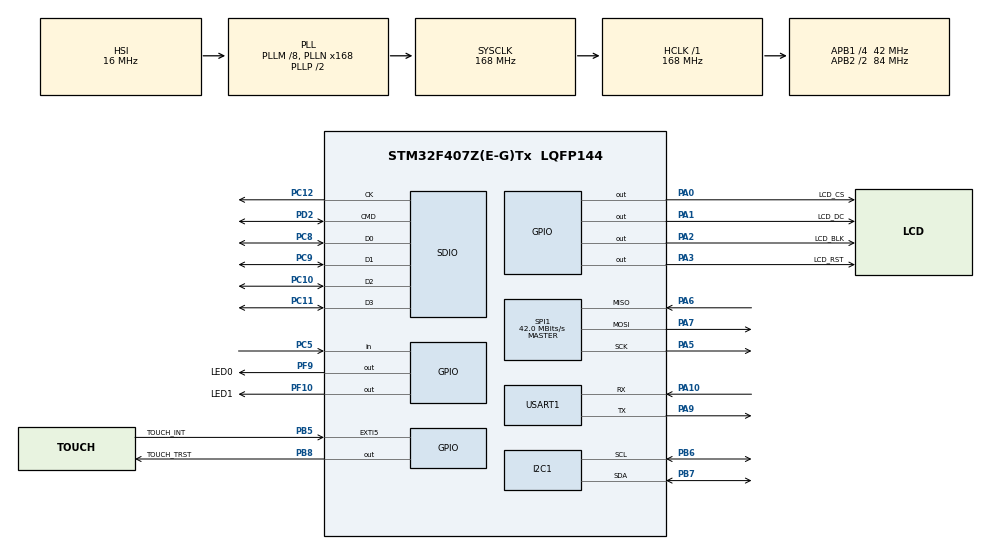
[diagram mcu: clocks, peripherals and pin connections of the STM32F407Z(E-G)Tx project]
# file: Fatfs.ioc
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Dma.Request0=SDIO_TX
Dma.Request1=SDIO_RX
Dma.Request2=SPI1_RX
Dma.Request3=SPI1_TX
Dma.SDIO_RX.1.Direction=DMA_PERIPH_TO_MEMORY
Dma.SDIO_RX.1.FIFOMode=DMA_FIFOMODE_ENABLE
Dma.SDIO_RX.1.FIFOThreshold=DMA_FIFO_THRESHOLD_FULL
Dma.SDIO_RX.1.Instance=DMA2_Stream6
Dma.SDIO_RX.1.MemBurst=DMA_MBURST_INC4
Dma.SDIO_RX.1.MemDataAlignment=DMA_MDATAALIGN_WORD
Dma.SDIO_RX.1.MemInc=DMA_MINC_ENABLE
Dma.SDIO_RX.1.Mode=DMA_PFCTRL
Dma.SDIO_RX.1.PeriphBurst=DMA_PBURST_INC4
Dma.SDIO_RX.1.PeriphDataAlignment=DMA_PDATAALIGN_WORD
Dma.SDIO_RX.1.PeriphInc=DMA_PINC_DISABLE
Dma.SDIO_RX.1.Priority=DMA_PRIORITY_LOW
Dma.SDIO_TX.0.Direction=DMA_MEMORY_TO_PERIPH
Dma.SDIO_TX.0.FIFOMode=DMA_FIFOMODE_ENABLE
Dma.SDIO_TX.0.FIFOThreshold=DMA_FIFO_THRESHOLD_FULL
Dma.SDIO_TX.0.Instance=DMA2_Stream3
Dma.SDIO_TX.0.MemBurst=DMA_MBURST_INC4
Dma.SDIO_TX.0.MemDataAlignment=DMA_MDATAALIGN_WORD
Dma.SDIO_TX.0.MemInc=DMA_MINC_ENABLE
Dma.SDIO_TX.0.Mode=DMA_PFCTRL
Dma.SDIO_TX.0.PeriphBurst=DMA_PBURST_INC4
Dma.SDIO_TX.0.PeriphDataAlignment=DMA_PDATAALIGN_WORD
Dma.SDIO_TX.0.PeriphInc=DMA_PINC_DISABLE
Dma.SDIO_TX.0.Priority=DMA_PRIORITY_LOW
Dma.SPI1_RX.2.Direction=DMA_PERIPH_TO_MEMORY
Dma.SPI1_RX.2.FIFOMode=DMA_FIFOMODE_ENABLE
Dma.SPI1_RX.2.FIFOThreshold=DMA_FIFO_THRESHOLD_FULL
Dma.SPI1_RX.2.Instance=DMA2_Stream0
Dma.SPI1_RX.2.MemBurst=DMA_MBURST_SINGLE
Dma.SPI1_RX.2.MemDataAlignment=DMA_MDATAALIGN_BYTE
Dma.SPI1_RX.2.MemInc=DMA_MINC_ENABLE
Dma.SPI1_RX.2.Mode=DMA_NORMAL
Dma.SPI1_RX.2.PeriphBurst=DMA_PBURST_SINGLE
Dma.SPI1_RX.2.PeriphDataAlignment=DMA_PDATAALIGN_BYTE
Dma.SPI1_RX.2.PeriphInc=DMA_PINC_DISABLE
Dma.SPI1_RX.2.Priority=DMA_PRIORITY_LOW
Dma.SPI1_TX.3.Direction=DMA_MEMORY_TO_PERIPH
Dma.SPI1_TX.3.FIFOMode=DMA_FIFOMODE_ENABLE
Dma.SPI1_TX.3.FIFOThreshold=DMA_FIFO_THRESHOLD_1QUARTERFULL
Dma.SPI1_TX.3.Instance=DMA2_Stream5
Dma.SPI1_TX.3.MemBurst=DMA_MBURST_SINGLE
Dma.SPI1_TX.3.MemDataAlignment=DMA_MDATAALIGN_HALFWORD
Dma.SPI1_TX.3.MemInc=DMA_MINC_ENABLE
Dma.SPI1_TX.3.Mode=DMA_NORMAL
Dma.SPI1_TX.3.PeriphBurst=DMA_PBURST_SINGLE
Dma.SPI1_TX.3.PeriphDataAlignment=DMA_PDATAALIGN_BYTE
Dma.SPI1_TX.3.PeriphInc=DMA_PINC_DISABLE
Dma.SPI1_TX.3.Priority=DMA_PRIORITY_LOW
FATFS.BSP.number=1
FATFS._CODE_PAGE=936
FATFS._FS_LOCK=3
FATFS._FS_MINIMIZE=0
FATFS._USE_LFN=2
FATFS0.BSP.STBoard=false
FATFS0.BSP.api=Unknown
FATFS0.BSP.instance=PC5
FATFS0.BSP.ip=GPIO
FATFS0.BSP.mode=Input
FATFS0.BSP.name=Detect_SDIO
FATFS0.BSP.solution=PC5
FREERTOS.Tasks01=defaultTask,0,1024,StartDefaultTask,Default,NULL,Dynamic,NULL,NULL;lvgl,0,1024,lvgl_Task,Default,NULL,Dynamic,NULL,NULL;AccelerateLvgl,0,256,AccelerateLvgl_t,Default,NULL,Dynamic,NULL,NULL
FREERTOS.configCHECK_FOR_STACK_OVERFLOW=1
FREERTOS.configMINIMAL_STACK_SIZE=256
FREERTOS.configUSE_TICK_HOOK=1
Mcu.Family=STM32F4
Mcu.Name=STM32F407Z(E-G)Tx
Mcu.Package=LQFP144
NVIC.DMA2_Stream0_IRQn=true\:6\:0\:true\:false\:true\:true\:false\:true\:true
NVIC.DMA2_Stream3_IRQn=true\:6\:0\:true\:false\:true\:true\:false\:true\:true
NVIC.DMA2_Stream5_IRQn=true\:6\:0\:true\:false\:true\:true\:false\:true\:true
NVIC.DMA2_Stream6_IRQn=true\:6\:0\:true\:false\:true\:true\:false\:true\:true
NVIC.EXTI9_5_IRQn=true\:7\:0\:true\:false\:true\:true\:true\:true\:true
NVIC.PriorityGroup=NVIC_PRIORITYGROUP_4
NVIC.SDIO_IRQn=true\:5\:0\:false\:false\:true\:true\:true\:true\:true
NVIC.SPI1_IRQn=true\:7\:0\:true\:false\:true\:true\:true\:true\:true
NVIC.TIM2_IRQn=true\:0\:0\:true\:false\:true\:false\:false\:true\:true
NVIC.TimeBase=TIM2_IRQn
NVIC.TimeBaseIP=TIM2
PA0-WKUP.GPIO_Label=LCD_CS
PA0-WKUP.GPIO_PuPd=GPIO_PULLUP
PA0-WKUP.GPIO_Speed=GPIO_SPEED_FREQ_VERY_HIGH
PA0-WKUP.PinState=GPIO_PIN_SET
PA0-WKUP.Signal=GPIO_Output
PA1.GPIO_Label=LCD_DC
PA1.GPIO_PuPd=GPIO_PULLUP
PA1.GPIO_Speed=GPIO_SPEED_FREQ_VERY_HIGH
PA1.PinState=GPIO_PIN_SET
PA1.Signal=GPIO_Output
PA10.Mode=Asynchronous
PA10.Signal=USART1_RX
PA13.Mode=Serial_Wire
PA13.Signal=SYS_JTMS-SWDIO
PA14.Mode=Serial_Wire
PA14.Signal=SYS_JTCK-SWCLK
PA2.GPIO_Label=LCD_BLK
PA2.GPIO_PuPd=GPIO_PULLUP
PA2.GPIO_Speed=GPIO_SPEED_FREQ_VERY_HIGH
PA2.PinState=GPIO_PIN_SET
PA2.Signal=GPIO_Output
PA3.GPIO_Label=LCD_RST
PA3.GPIO_PuPd=GPIO_PULLUP
PA3.GPIO_Speed=GPIO_SPEED_FREQ_VERY_HIGH
PA3.PinState=GPIO_PIN_SET
PA3.Signal=GPIO_Output
PA5.Mode=Full_Duplex_Master
PA5.Signal=SPI1_SCK
PA6.Mode=Full_Duplex_Master
PA6.Signal=SPI1_MISO
PA7.Mode=Full_Duplex_Master
PA7.Signal=SPI1_MOSI
PA9.Mode=Asynchronous
PA9.Signal=USART1_TX
PB5.GPIO_Label=TOUCH_INT
PB5.GPIO_ModeDefaultEXTI=GPIO_MODE_IT_FALLING
PB5.GPIO_PuPd=GPIO_PULLUP
PB5.Signal=GPXTI5
PB6.Mode=I2C
PB6.Signal=I2C1_SCL
PB7.Mode=I2C
PB7.Signal=I2C1_SDA
PB8.GPIO_Label=TOUCH_TRST
PB8.GPIO_Speed=GPIO_SPEED_FREQ_VERY_HIGH
PB8.PinState=GPIO_PIN_SET
PB8.Signal=GPIO_Output
PC10.Mode=SD_4_bits_Wide_bus
PC10.Signal=SDIO_D2
PC11.Mode=SD_4_bits_Wide_bus
PC11.Signal=SDIO_D3
PC12.Mode=SD_4_bits_Wide_bus
PC12.Signal=SDIO_CK
PC14-OSC32_IN.Mode=LSE-External-Oscillator
PC14-OSC32_IN.Signal=RCC_OSC32_IN
PC15-OSC32_OUT.Mode=LSE-External-Oscillator
PC15-OSC32_OUT.Signal=RCC_OSC32_OUT
PC5.GPIO_PuPd=GPIO_PULLDOWN
PC5.Signal=GPIO_Input
PC8.Mode=SD_4_bits_Wide_bus
PC8.Signal=SDIO_D0
PC9.Mode=SD_4_bits_Wide_bus
PC9.Signal=SDIO_D1
PD2.Mode=SD_4_bits_Wide_bus
PD2.Signal=SDIO_CMD
PF10.GPIO_Label=LED1
PF10.GPIO_Speed=GPIO_SPEED_FREQ_VERY_HIGH
PF10.PinState=GPIO_PIN_SET
PF10.Signal=GPIO_Output
PF9.GPIO_Label=LED0
PF9.GPIO_Speed=GPIO_SPEED_FREQ_VERY_HIGH
PF9.PinState=GPIO_PIN_SET
PF9.Signal=GPIO_Output
PH0-OSC_IN.Mode=HSE-External-Oscillator
PH0-OSC_IN.Signal=RCC_OSC_IN
PH1-OSC_OUT.Mode=HSE-External-Oscillator
PH1-OSC_OUT.Signal=RCC_OSC_OUT
ProjectManager.HeapSize=0x200
ProjectManager.StackSize=0x2000
ProjectManager.TargetToolchain=MDK-ARM V5.32
RCC.48MHZClocksFreq_Value=48000000
RCC.AHBFreq_Value=168000000
RCC.APB1CLKDivider=RCC_HCLK_DIV4
RCC.APB1Freq_Value=42000000
RCC.APB1TimFreq_Value=84000000
RCC.APB2CLKDivider=RCC_HCLK_DIV2
RCC.APB2Freq_Value=84000000
RCC.APB2TimFreq_Value=168000000
RCC.CortexFreq_Value=168000000
RCC.HCLKFreq_Value=168000000
RCC.HSE_VALUE=25000000
RCC.HSI_VALUE=16000000
RCC.PLLM=8
RCC.PLLN=168
RCC.PLLQ=7
RCC.SYSCLKFreq_VALUE=168000000
RCC.SYSCLKSource=RCC_SYSCLKSOURCE_PLLCLK
RCC.VCOOutputFreq_Value=336000000
SDIO.ClockDiv=8
SPI1.CalculateBaudRate=42.0 MBits/s
SPI1.DataSize=SPI_DATASIZE_8BIT
SPI1.Direction=SPI_DIRECTION_2LINES
SPI1.Mode=SPI_MODE_MASTER
SPI1.VirtualType=VM_MASTER
USART1.VirtualMode=VM_ASYNC
VP_FATFS_VS_Generic.Mode=User_defined
VP_FATFS_VS_SDIO.Mode=SDIO
VP_FREERTOS_VS_CMSIS_V1.Mode=CMSIS_V1
VP_SYS_VS_tim2.Mode=TIM2
board=custom

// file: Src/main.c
/* USER CODE BEGIN Header */
/**
  ******************************************************************************
  * @file           : main.c
  * @brief          : Main program body
  ******************************************************************************
  * @attention
  *
  * Copyright (c) 2025 STMicroelectronics.
  * All rights reserved.
  *
  * This software is licensed under terms that can be found in the LICENSE file
  * in the root directory of this software component.
  * If no LICENSE file comes with this software, it is provided AS-IS.
  *
  ******************************************************************************
  */
/* USER CODE END Header */
#include "main.h"
#include "cmsis_os.h"
#include "dma.h"
#include "fatfs.h"
#include "i2c.h"
#include "sdio.h"
#include "spi.h"
#include "usart.h"
#include "gpio.h"

/* USER CODE BEGIN PD */
// 要打开的文件
#define FILE_NAME	"0:/FOO.txt"
// 要读取的目录
#define DIR_PATH	"0:/SYSTEM/SPB/ICOS"
/* USER CODE END PD */

void SystemClock_Config(void);
void MX_FREERTOS_Init(void);

int main(void)
{

  /* MCU Configuration--------------------------------------------------------*/

  /* Reset of all peripherals, Initializes the Flash interface and the Systick. */
  HAL_Init();

  /* Configure the system clock */
  SystemClock_Config();

  /* USER CODE BEGIN SysInit */
	//HAL_Delay(8000);
  /* USER CODE END SysInit */

  /* Initialize all configured peripherals */
  MX_GPIO_Init();
  MX_DMA_Init();
  MX_SDIO_SD_Init();
  MX_USART1_UART_Init();
  MX_FATFS_Init();
  MX_I2C1_Init();
  MX_SPI1_Init();
  /* USER CODE BEGIN 2 */
	LCD_Init();
	LCD_Fill(0,0,LCD_W,LCD_H,WHITE);

  /* USER CODE END 2 */

  /* Call init function for freertos objects (in cmsis_os2.c) */
  MX_FREERTOS_Init();

  /* Start scheduler */
  osKernelStart();

  /* We should never get here as control is now taken by the scheduler */

  /* Infinite loop */
  while (1)
  {

  }
}

void SystemClock_Config(void)
{
  RCC_OscInitTypeDef RCC_OscInitStruct = {0};
  RCC_ClkInitTypeDef RCC_ClkInitStruct = {0};

  /** Configure the main internal regulator output voltage
  */
  __HAL_RCC_PWR_CLK_ENABLE();
  __HAL_PWR_VOLTAGESCALING_CONFIG(PWR_REGULATOR_VOLTAGE_SCALE1);

  /** Initializes the RCC Oscillators according to the specified parameters
  * in the RCC_OscInitTypeDef structure.
  */
  RCC_OscInitStruct.OscillatorType = RCC_OSCILLATORTYPE_HSI;
  RCC_OscInitStruct.HSIState = RCC_HSI_ON;
  RCC_OscInitStruct.HSICalibrationValue = RCC_HSICALIBRATION_DEFAULT;
  RCC_OscInitStruct.PLL.PLLState = RCC_PLL_ON;
  RCC_OscInitStruct.PLL.PLLSource = RCC_PLLSOURCE_HSI;
  RCC_OscInitStruct.PLL.PLLM = 8;
  RCC_OscInitStruct.PLL.PLLN = 168;
  RCC_OscInitStruct.PLL.PLLP = RCC_PLLP_DIV2;
  RCC_OscInitStruct.PLL.PLLQ = 7;
  if (HAL_RCC_OscConfig(&RCC_OscInitStruct) != HAL_OK)
  {
    Error_Handler();
  }

  /** Initializes the CPU, AHB and APB buses clocks
  */
  RCC_ClkInitStruct.ClockType = RCC_CLOCKTYPE_HCLK|RCC_CLOCKTYPE_SYSCLK
                              |RCC_CLOCKTYPE_PCLK1|RCC_CLOCKTYPE_PCLK2;
  RCC_ClkInitStruct.SYSCLKSource = RCC_SYSCLKSOURCE_PLLCLK;
  RCC_ClkInitStruct.AHBCLKDivider = RCC_SYSCLK_DIV1;
  RCC_ClkInitStruct.APB1CLKDivider = RCC_HCLK_DIV4;
  RCC_ClkInitStruct.APB2CLKDivider = RCC_HCLK_DIV2;

  if (HAL_RCC_ClockConfig(&RCC_ClkInitStruct, FLASH_LATENCY_5) != HAL_OK)
  {
    Error_Handler();
  }
}

/* USER CODE BEGIN 4 */
int fputc(int ch, FILE *stream)
{
	HAL_UART_Transmit(&huart1, (uint8_t *)&ch, 1, 10);
	return ch;
}

/* USER CODE END 4 */

void HAL_TIM_PeriodElapsedCallback(TIM_HandleTypeDef *htim)
{
  if (htim->Instance == TIM2)
  {
    HAL_IncTick();
  }
}

void Error_Handler(void)
{
  __disable_irq();
  while (1)
  {
  }
}

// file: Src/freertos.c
/* USER CODE BEGIN Header */
/**
  ******************************************************************************
  * File Name          : freertos.c
  * Description        : Code for freertos applications
  ******************************************************************************
  * @attention
  *
  * Copyright (c) 2025 STMicroelectronics.
  * All rights reserved.
  *
  * This software is licensed under terms that can be found in the LICENSE file
  * in the root directory of this software component.
  * If no LICENSE file comes with this software, it is provided AS-IS.
  *
  ******************************************************************************
  */
/* USER CODE END Header */

#include "FreeRTOS.h"
#include "task.h"
#include "main.h"
#include "cmsis_os.h"

/* USER CODE BEGIN Includes */
#include "fatfs.h"
#include "lv_hal_tick.h"
#include "lv_demo_benchmark.h"
#include "stdlib.h"
#include "file_browser.h"
#include "image_viewer.h"
/* USER CODE END Includes */

/* USER CODE BEGIN Variables */
SemaphoreHandle_t xSDMutex = NULL;
FIL file;
uint32_t total,mfree;                  // file objects
/* USER CODE END Variables */
osThreadId defaultTaskHandle;
osThreadId lvglHandle;
osThreadId AccelerateLvglHandle;

/* USER CODE BEGIN FunctionPrototypes */
u8 exf_getfree(u8 *drv,u32 *total,u32 *free)
{
	FATFS *fs1;
	u8 res;
	u32 fre_clust=0, fre_sect=0, tot_sect=0;
	res =(u32)f_getfree((const TCHAR*)drv, (DWORD*)&fre_clust, &fs1);
    if(res==0)
	{
	    tot_sect=(fs1->n_fatent-2)*fs1->csize;
	    fre_sect=fre_clust*fs1->csize;
#if _MAX_SS!=512
		tot_sect*=fs1->ssize/512;
		fre_sect*=fs1->ssize/512;
#endif
		*total=tot_sect>>1;
		*free=fre_sect>>1;
 	}
	return res;
}
/* USER CODE END FunctionPrototypes */

void StartDefaultTask(void const * argument);
void lvgl_Task(void const * argument);
void AccelerateLvgl_t(void const * argument);

void MX_FREERTOS_Init(void); /* (MISRA C 2004 rule 8.1) */

/* GetIdleTaskMemory prototype (linked to static allocation support) */
void vApplicationGetIdleTaskMemory( StaticTask_t **ppxIdleTaskTCBBuffer, StackType_t **ppxIdleTaskStackBuffer, uint32_t *pulIdleTaskStackSize );

/* Hook prototypes */
void vApplicationTickHook(void);
void vApplicationStackOverflowHook(xTaskHandle xTask, signed char *pcTaskName);

/* USER CODE BEGIN 3 */
__weak void vApplicationTickHook( void )
{
   /* This function will be called by each tick interrupt if
   configUSE_TICK_HOOK is set to 1 in FreeRTOSConfig.h. User code can be
   added here, but the tick hook is called from an interrupt context, so
   code must not attempt to block, and only the interrupt safe FreeRTOS API
   functions can be used (those that end in FromISR()). */
}
/* USER CODE END 3 */

/* USER CODE BEGIN 4 */
__weak void vApplicationStackOverflowHook(xTaskHandle xTask, signed char *pcTaskName)
{
   /* Run time stack overflow checking is performed if
   configCHECK_FOR_STACK_OVERFLOW is defined to 1 or 2. This hook function is
   called if a stack overflow is detected. */
}
/* USER CODE END 4 */

/* USER CODE BEGIN GET_IDLE_TASK_MEMORY */
static StaticTask_t xIdleTaskTCBBuffer;
static StackType_t xIdleStack[configMINIMAL_STACK_SIZE];

void vApplicationGetIdleTaskMemory( StaticTask_t **ppxIdleTaskTCBBuffer, StackType_t **ppxIdleTaskStackBuffer, uint32_t *pulIdleTaskStackSize )
{
  *ppxIdleTaskTCBBuffer = &xIdleTaskTCBBuffer;
  *ppxIdleTaskStackBuffer = &xIdleStack[0];
  *pulIdleTaskStackSize = configMINIMAL_STACK_SIZE;
  /* place for user code */
}
/* USER CODE END GET_IDLE_TASK_MEMORY */

void MX_FREERTOS_Init(void) {

  /* USER CODE BEGIN RTOS_MUTEX */
  /* add mutexes, ... */
	xSDMutex = xSemaphoreCreateMutex();
	if (xSDMutex == NULL) {
			printf("fail to create xSDMutex\r\n");
			Error_Handler();
	}
  /* USER CODE END RTOS_MUTEX */

  /* Create the thread(s) */
  /* definition and creation of defaultTask */
  osThreadDef(defaultTask, StartDefaultTask, osPriorityNormal, 0, 1024);
  defaultTaskHandle = osThreadCreate(osThread(defaultTask), NULL);

  /* definition and creation of lvgl */
  osThreadDef(lvgl, lvgl_Task, osPriorityNormal, 0, 1024);
  lvglHandle = osThreadCreate(osThread(lvgl), NULL);

  /* definition and creation of AccelerateLvgl */
  osThreadDef(AccelerateLvgl, AccelerateLvgl_t, osPriorityNormal, 0, 256);
  AccelerateLvglHandle = osThreadCreate(osThread(AccelerateLvgl), NULL);

}

void StartDefaultTask(void const * argument)
{
  /* USER CODE BEGIN StartDefaultTask */
	//xSemaphoreTake(xSDMutex, pdMS_TO_TICKS(100));
	extern uint32_t __heap_base;
	extern uint32_t __heap_limit;

//	printf("%d\r\n",xPortGetFreeHeapSize());
//	uint8_t *x = pvPortMalloc(100);
//	printf("%d\r\n",xPortGetFreeHeapSize());
//	printf("Heap start address: 0x%08X\r\nHeap end address: 0x%08X\r\nfree heap memory: %u bytes\r\n",(uint32_t)&__heap_limit,(uint32_t)&__heap_base, (uint32_t)&__heap_limit - (uint32_t)&__heap_base);
//	uint8_t *y = malloc(0x1);
//	y[0] = '1';
//	if(y == NULL)printf("1\r\n");
//	printf("%s %x\r\n",y,y);
//	printf("free heap memory: %u bytes\r\n", (uint32_t)&__heap_limit - (uint32_t)&__heap_base);
	retSD = f_mount(&SDFatFS,SDPath,1);
	switch(retSD)
	{
		case FR_NO_FILESYSTEM :
		{
			printf("mkfs error \r\n");
			break;
		}
		case FR_OK :
		{
			printf("mount successful \r\n");
			break;
		}
		case FR_NOT_READY :
		{
			printf("FR_NOT_READY \r\n");
			break;
		}
		default :
			printf("other error %d\r\n",retUSER);
	}
	retSD=exf_getfree((uint8_t *)SDPath,&total,&mfree);
	if(retSD==0)
		printf(" total : %d MB,free : %d MB  \r\n\r\n",total>>10,mfree>>10);
	else
		printf(" Getfree error!!! \r\n");
	lv_init();
	lv_port_disp_init();
	lv_port_indev_init();
	file_browser_init();
  file_browser_create();

	//lv_demo_widgets();
	//xSemaphoreGive(xSDMutex);
  /* Infinite loop */
  for(;;)
  {
		lv_task_handler();
		vTaskDelay(pdMS_TO_TICKS(30));
  }
  /* USER CODE END StartDefaultTask */
}

void lvgl_Task(void const * argument)
{
  /* USER CODE BEGIN lvgl_Task */
	//vTaskDelay(pdMS_TO_TICKS(500));
	//xSemaphoreTake(xSDMutex, portMAX_DELAY);
//	extern uint8_t Pressed;
//	unsigned portBASE_TYPE uxHighWaterMark;
	//lv_demo_benchmark();
	//lv_demo_stress();
  /* Infinite loop */
  for(;;)
  {
//		uxHighWaterMark=uxTaskGetStackHighWaterMark( defaultTaskHandle );
//    printf("Free:%ld %d\r\n",uxHighWaterMark,Pressed);
    vTaskDelay(pdMS_TO_TICKS(1500));
  }
  /* USER CODE END lvgl_Task */
}

void AccelerateLvgl_t(void const * argument)
{
  /* USER CODE BEGIN AccelerateLvgl_t */

  /* Infinite loop */
  for(;;)
  {
    vTaskDelay(pdMS_TO_TICKS(1500));
  }
  /* USER CODE END AccelerateLvgl_t */
}
